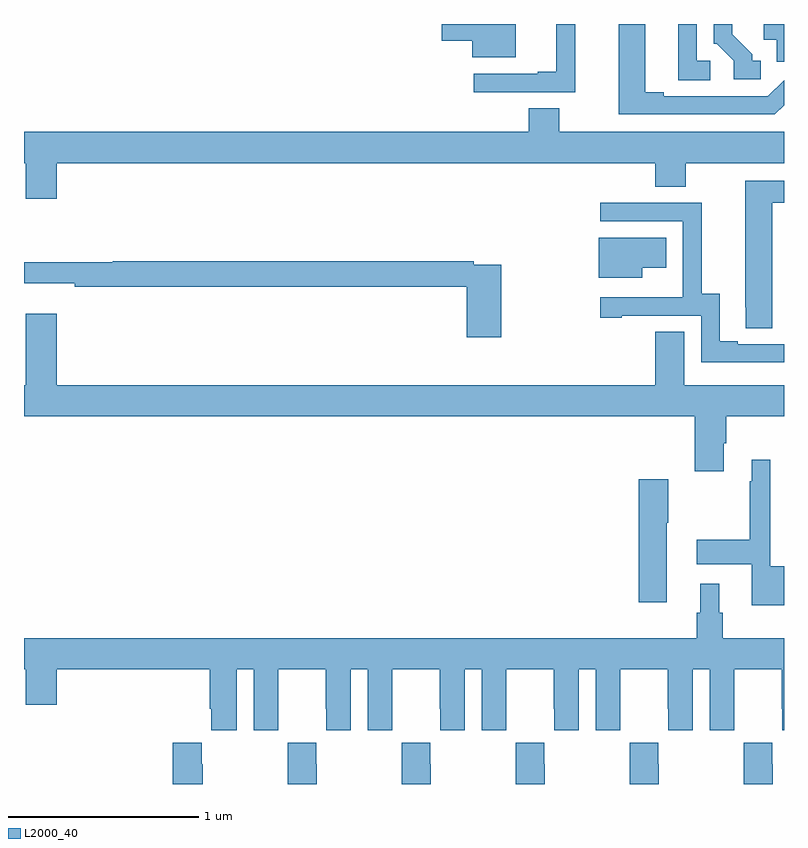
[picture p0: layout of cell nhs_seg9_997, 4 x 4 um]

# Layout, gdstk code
import gdstk
lib = gdstk.Library(unit=1e-6, precision=1e-09)
def P(c, l, *ps):  # polygons
    for p in ps: c.add(gdstk.Polygon(p, *l))
L2000_40 = (2000, 40)

nhs_seg9_997 = lib.new_cell('nhs_seg9_997')
P(nhs_seg9_997, L2000_40, [(167.587,1182.5),(167.199,1182.5),(167.199,1182.413),(167.36,1182.413),(167.36,1182.326),(167.587,1182.326)],
  [(169,1182.073),(169,1182.205),(168.915,1182.12),(168.367,1182.12),(168.367,1182.14),(168.271,1182.14),(168.271,1182.5),(168.131,1182.5),(168.131,1182.024),(168.951,1182.024)],
  [(168.613,1182.306),(168.54,1182.306),(168.54,1182.5),(168.443,1182.5),(168.443,1182.205),(168.613,1182.205)],
  [(167.901,1182.5),(167.801,1182.5),(167.801,1182.25),(167.705,1182.25),(167.705,1182.237),(167.367,1182.237),(167.367,1182.141),(167.901,1182.141)],
  [(168.877,1182.306),(168.832,1182.306),(168.832,1182.341),(168.727,1182.446),(168.727,1182.5),(168.63,1182.5),(168.63,1182.396),(168.645,1182.396),(168.735,1182.306),(168.735,1182.21),(168.877,1182.21)],
  [(169,1182.5),(168.893,1182.5),(168.893,1182.416),(168.962,1182.416),(168.962,1182.301),(169,1182.301)],
  [(165.172,1181.768),(168.323,1181.768),(168.323,1181.644),(168.483,1181.644),(168.483,1181.768),(169,1181.768),(169,1181.932),(167.817,1181.932),(167.817,1182.056),(167.657,1182.056),(167.657,1181.932),(165,1181.932),(165,1181.768),(165.008,1181.768),(165.008,1181.58),(165.172,1181.58)],
  [(168.937,1181.56),(169,1181.56),(169,1181.676),(168.797,1181.676),(168.797,1181.008),(168.798,1181.008),(168.798,1180.9),(168.937,1180.9)],
  [(169,1180.815),(168.757,1180.815),(168.757,1180.83),(168.661,1180.83),(168.661,1181.081),(168.567,1181.081),(168.567,1181.559),(168.033,1181.559),(168.033,1181.463),(168.468,1181.463),(168.468,1181.062),(168.467,1181.062),(168.467,1181.061),(168.033,1181.061),(168.033,1180.953),(168.145,1180.953),(168.145,1180.965),(168.564,1180.965),(168.564,1180.719),(169,1180.719)],
  [(168.253,1181.216),(168.379,1181.216),(168.379,1181.374),(168.026,1181.374),(168.026,1181.165),(168.253,1181.165)],
  [(167.513,1181.232),(167.366,1181.232),(167.366,1181.252),(165.466,1181.252),(165.466,1181.245),(165,1181.245),(165,1181.135),(165.268,1181.135),(165.268,1181.116),(167.33,1181.116),(167.33,1180.851),(167.513,1180.851)],
  [(168.682,1180.294),(168.695,1180.294),(168.695,1180.436),(169,1180.436),(169,1180.6),(168.475,1180.6),(168.475,1180.88),(168.323,1180.88),(168.323,1180.6),(165.172,1180.6),(165.172,1180.975),(165.008,1180.975),(165.008,1180.6),(165,1180.6),(165,1180.436),(168.53,1180.436),(168.53,1180.146),(168.682,1180.146)],
  [(169,1179.646),(168.927,1179.646),(168.927,1180.207),(168.83,1180.207),(168.83,1180.094),(168.819,1180.094),(168.819,1179.786),(168.54,1179.786),(168.54,1179.656),(168.83,1179.656),(168.83,1179.44),(169,1179.44)],
  [(168.382,1179.874),(168.39,1179.874),(168.39,1180.105),(168.236,1180.105),(168.236,1179.456),(168.382,1179.456)],
  [(166.12,1179.104),(166.208,1179.104),(166.208,1178.784),(166.338,1178.784),(166.338,1178.896),(166.339,1178.896),(166.339,1179.104),(166.589,1179.104),(166.589,1178.896),(166.59,1178.896),(166.59,1178.784),(166.72,1178.784),(166.72,1179.104),(166.808,1179.104),(166.808,1178.784),(166.938,1178.784),(166.938,1178.896),(166.939,1178.896),(166.939,1179.104),(167.189,1179.104),(167.189,1178.896),(167.19,1178.896),(167.19,1178.784),(167.32,1178.784),(167.32,1179.104),(167.408,1179.104),(167.408,1178.784),(167.538,1178.784),(167.538,1178.896),(167.539,1178.896),(167.539,1179.104),(167.789,1179.104),(167.789,1178.896),(167.79,1178.896),(167.79,1178.784),(167.92,1178.784),(167.92,1179.104),(168.008,1179.104),(168.008,1178.784),(168.138,1178.784),(168.138,1178.896),(168.139,1178.896),(168.139,1179.104),(168.389,1179.104),(168.389,1178.896),(168.39,1178.896),(168.39,1178.784),(168.52,1178.784),(168.52,1179.104),(168.608,1179.104),(168.608,1178.784),(168.738,1178.784),(168.738,1178.896),(168.739,1178.896),(168.739,1179.104),(168.989,1179.104),(168.989,1178.896),(168.99,1178.896),(168.99,1178.784),(169,1178.784),(169,1179.268),(168.677,1179.268),(168.677,1179.402),(168.658,1179.402),(168.658,1179.553),(168.56,1179.553),(168.56,1179.402),(168.541,1179.402),(168.541,1179.268),(165,1179.268),(165,1179.104),(165.008,1179.104),(165.008,1178.916),(165.172,1178.916),(165.172,1179.104),(165.977,1179.104),(165.977,1178.896),(165.986,1178.896),(165.986,1178.784),(166.12,1178.784)],
  [(165.942,1178.603),(165.935,1178.603),(165.935,1178.716),(165.782,1178.716),(165.782,1178.5),(165.942,1178.5)],
  [(166.542,1178.603),(166.539,1178.603),(166.539,1178.716),(166.389,1178.716),(166.389,1178.603),(166.387,1178.603),(166.387,1178.5),(166.542,1178.5)],
  [(168.942,1178.603),(168.939,1178.603),(168.939,1178.716),(168.789,1178.716),(168.789,1178.603),(168.787,1178.603),(168.787,1178.5),(168.942,1178.5)],
  [(168.342,1178.603),(168.339,1178.603),(168.339,1178.716),(168.189,1178.716),(168.189,1178.603),(168.187,1178.603),(168.187,1178.5),(168.342,1178.5)],
  [(167.742,1178.603),(167.739,1178.603),(167.739,1178.716),(167.589,1178.716),(167.589,1178.603),(167.587,1178.603),(167.587,1178.5),(167.742,1178.5)],
  [(166.989,1178.716),(166.989,1178.603),(166.987,1178.603),(166.987,1178.5),(167.142,1178.5),(167.142,1178.603),(167.139,1178.603),(167.139,1178.716)])

lib.write_gds('nhs_seg9_997.gds')
